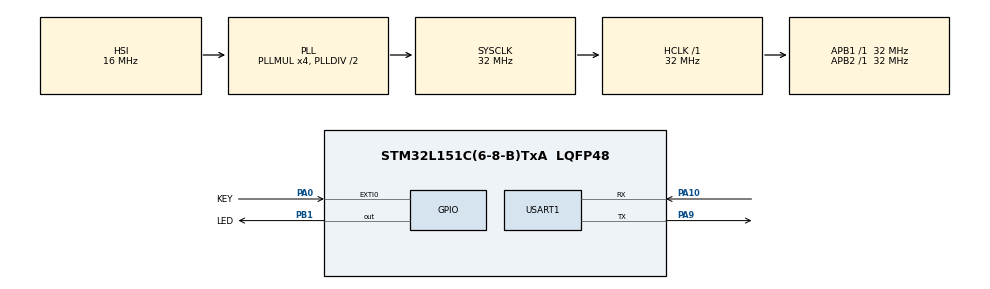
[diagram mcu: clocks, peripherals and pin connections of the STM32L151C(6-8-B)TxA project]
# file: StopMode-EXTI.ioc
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Mcu.Family=STM32L1
Mcu.Name=STM32L151C(6-8-B)TxA
Mcu.Package=LQFP48
NVIC.EXTI0_IRQn=true\:0\:0\:false
NVIC.PriorityGroup=NVIC_PRIORITYGROUP_4
PA0-WKUP1.GPIO_Label=KEY
PA0-WKUP1.GPIO_ModeDefaultEXTI=GPIO_MODE_IT_RISING
PA0-WKUP1.GPIO_PuPd=GPIO_PULLDOWN
PA0-WKUP1.Signal=GPXTI0
PA10.Mode=Asynchronous
PA10.Signal=USART1_RX
PA13.Mode=Serial-Wire
PA13.Signal=SYS_JTMS-SWDIO
PA14.Mode=Serial-Wire
PA14.Signal=SYS_JTCK-SWCLK
PA9.Mode=Asynchronous
PA9.Signal=USART1_TX
PB1.GPIO_Label=LED
PB1.GPIO_PuPd=GPIO_NOPULL
PB1.Signal=GPIO_Output
ProjectManager.HeapSize=0x400
ProjectManager.StackSize=0x200
ProjectManager.TargetToolchain=EWARM
RCC.AHBFreq_Value=32000000
RCC.APB1Freq_Value=32000000
RCC.APB1TimFreq_Value=32000000
RCC.APB2Freq_Value=32000000
RCC.APB2TimFreq_Value=32000000
RCC.HCLKFreq_Value=32000000
RCC.HSE_VALUE=8000000
RCC.HSI_VALUE=16000000
RCC.LSE_VALUE=32768
RCC.MSIClockRange=RCC_MSIRANGE_3
RCC.MSI_VALUE=524288
RCC.PLLMUL=RCC_PLL_MUL4
RCC.RTCClockSelection=RCC_RTCCLKSOURCE_LSI
RCC.RTCClockSelectionVirtual=RCC_RTCCLKSOURCE_LSI
RCC.SYSCLKFreq_VALUE=32000000
RCC.SYSCLKSource=RCC_SYSCLKSOURCE_PLLCLK
RCC.USBOutput=32000000
RCC.VCOOutputFreq_Value=64000000
board=StopMode-EXTI

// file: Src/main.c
/**
******************************************************************************
* File Name          : main.c
* Description        : Main program body
******************************************************************************
*
* COPYRIGHT(c) 2015 STMicroelectronics
*
* Redistribution and use in source and binary forms, with or without modification,
* are permitted provided that the following conditions are met:
*   1. Redistributions of source code must retain the above copyright notice,
*      this list of conditions and the following disclaimer.
*   2. Redistributions in binary form must reproduce the above copyright notice,
*      this list of conditions and the following disclaimer in the documentation
*      and/or other materials provided with the distribution.
*   3. Neither the name of STMicroelectronics nor the names of its contributors
*      may be used to endorse or promote products derived from this software
*      without specific prior written permission.
*
* THIS SOFTWARE IS PROVIDED BY THE COPYRIGHT HOLDERS AND CONTRIBUTORS "AS IS"
* AND ANY EXPRESS OR IMPLIED WARRANTIES, INCLUDING, BUT NOT LIMITED TO, THE
* IMPLIED WARRANTIES OF MERCHANTABILITY AND FITNESS FOR A PARTICULAR PURPOSE ARE
* DISCLAIMED. IN NO EVENT SHALL THE COPYRIGHT HOLDER OR CONTRIBUTORS BE LIABLE
* FOR ANY DIRECT, INDIRECT, INCIDENTAL, SPECIAL, EXEMPLARY, OR CONSEQUENTIAL
* DAMAGES (INCLUDING, BUT NOT LIMITED TO, PROCUREMENT OF SUBSTITUTE GOODS OR
* SERVICES; LOSS OF USE, DATA, OR PROFITS; OR BUSINESS INTERRUPTION) HOWEVER
* CAUSED AND ON ANY THEORY OF LIABILITY, WHETHER IN CONTRACT, STRICT LIABILITY,
* OR TORT (INCLUDING NEGLIGENCE OR OTHERWISE) ARISING IN ANY WAY OUT OF THE USE
* OF THIS SOFTWARE, EVEN IF ADVISED OF THE POSSIBILITY OF SUCH DAMAGE.
*
******************************************************************************
*/
#include "stm32l1xx_hal.h"
#include "usart.h"
#include "gpio.h"

/* USER CODE BEGIN PV */
/* Private variables ---------------------------------------------------------*/
void power_exit_stop(void);
void power_enter_stop(void);
/* USER CODE END PV */

void SystemClock_Config(void);

/* USER CODE BEGIN PFP */
/* Private function prototypes -----------------------------------------------*/

/* USER CODE END PFP */

/* USER CODE BEGIN 0 */
__IO uint8_t sec = 0;
/* USER CODE END 0 */

int main(void)
{

	/* MCU Configuration----------------------------------------------------------*/

	/* Reset of all peripherals, Initializes the Flash interface and the Systick. */
	HAL_Init();

	/* Configure the system clock */
	SystemClock_Config();

	/* Initialize all configured peripherals */
	MX_GPIO_Init();
	MX_USART1_UART_Init();

	/* USER CODE BEGIN 2 */

	// 禁用比较器
	__COMP_CLK_DISABLE();

	// 禁止 PVD
	HAL_PWR_DisablePVD();

	// 关闭VREFINT	少3uA
	HAL_PWREx_EnableUltraLowPower();
	// 忽略VREFINT 加快启动速度
	HAL_PWREx_EnableFastWakeUp();

	// 允许/禁用 调试端口 少800uA
	HAL_DBGMCU_DisableDBGStopMode();
	//HAL_DBGMCU_EnableDBGStopMode();

	//HAL_PWR_EnableWakeUpPin(PWR_WAKEUP_PIN1);
	/* USER CODE END 2 */

	/* Infinite loop */
	/* USER CODE BEGIN WHILE */
	while (1)
	{
		LED_ON;
		HAL_Delay(1000);
		printf("Run!\r\n");
		sec++;
		if(sec>5){
			sec=0;
			power_enter_stop();
		}
		/* USER CODE END WHILE */

	}

}

/** System Clock Configuration
*/
void SystemClock_Config(void)
{

	RCC_OscInitTypeDef RCC_OscInitStruct;
	RCC_ClkInitTypeDef RCC_ClkInitStruct;

	__PWR_CLK_ENABLE();

	__HAL_PWR_VOLTAGESCALING_CONFIG(PWR_REGULATOR_VOLTAGE_SCALE1);

	RCC_OscInitStruct.OscillatorType = RCC_OSCILLATORTYPE_HSI;
	RCC_OscInitStruct.HSIState = RCC_HSI_ON;
	RCC_OscInitStruct.HSICalibrationValue = 16;
	RCC_OscInitStruct.PLL.PLLState = RCC_PLL_ON;
	RCC_OscInitStruct.PLL.PLLSource = RCC_PLLSOURCE_HSI;
	RCC_OscInitStruct.PLL.PLLMUL = RCC_PLL_MUL4;
	RCC_OscInitStruct.PLL.PLLDIV = RCC_PLL_DIV2;
	HAL_RCC_OscConfig(&RCC_OscInitStruct);

	RCC_ClkInitStruct.ClockType = RCC_CLOCKTYPE_SYSCLK;
	RCC_ClkInitStruct.SYSCLKSource = RCC_SYSCLKSOURCE_PLLCLK;
	RCC_ClkInitStruct.AHBCLKDivider = RCC_SYSCLK_DIV1;
	RCC_ClkInitStruct.APB1CLKDivider = RCC_HCLK_DIV1;
	RCC_ClkInitStruct.APB2CLKDivider = RCC_HCLK_DIV1;
	HAL_RCC_ClockConfig(&RCC_ClkInitStruct, FLASH_LATENCY_1);

	HAL_SYSTICK_Config(HAL_RCC_GetHCLKFreq()/1000);

	HAL_SYSTICK_CLKSourceConfig(SYSTICK_CLKSOURCE_HCLK);

	/* SysTick_IRQn interrupt configuration */
	HAL_NVIC_SetPriority(SysTick_IRQn, 0, 0);
}

/* USER CODE BEGIN 4 */

/**	Enter Stop Mode
***************************************/
void power_enter_stop(void)
{
	GPIO_InitTypeDef GPIO_InitStruct={0};

	printf("=== Power Down ===\r\n");
	LED_OFF;
	HAL_UART_MspDeInit(&huart1);

	//UART1;	减少16uA
	GPIO_InitStruct.Pin = GPIO_PIN_9|GPIO_PIN_10;
	GPIO_InitStruct.Mode = GPIO_MODE_ANALOG;
	GPIO_InitStruct.Pull = GPIO_NOPULL;
	GPIO_InitStruct.Speed = GPIO_SPEED_VERY_LOW;
	HAL_GPIO_Init(GPIOA, &GPIO_InitStruct);

	__GPIOA_CLK_DISABLE();
	__GPIOB_CLK_DISABLE();
	__GPIOC_CLK_DISABLE();
	__GPIOH_CLK_DISABLE();
	/* Enter Stop Mode */

	//	__HAL_PWR_VOLTAGESCALING_CONFIG(PWR_REGULATOR_VOLTAGE_SCALE3);
	//	/* Poll VOSF bit of in PWR_CSR. Wait until it is reset to 0 */
	//	while (__HAL_PWR_GET_FLAG(PWR_FLAG_VOS) != RESET) {};
	// 进入停机模式
	// PWR_LOWPOWERREGULATOR_ON 稳压器工作在动态低功耗模式 减少2uA
	// PWR_STOPENTRY_WFI	中断唤醒
	HAL_PWR_EnterSTOPMode(PWR_LOWPOWERREGULATOR_ON, PWR_STOPENTRY_WFI);

}

/**	Exit STOP mode
***************************************/
void power_exit_stop(void)
{
	SystemClock_Config();
	__GPIOA_CLK_ENABLE();
	__GPIOB_CLK_ENABLE();

	//	__HAL_PWR_VOLTAGESCALING_CONFIG(PWR_REGULATOR_VOLTAGE_SCALE1);
	//	/* Poll VOSF bit of in PWR_CSR. Wait until it is reset to 0 */
	//	while (__HAL_PWR_GET_FLAG(PWR_FLAG_VOS) != RESET) {};

	// 清除唤醒标记 减少重复唤醒电流，减少3uA
	SET_BIT(PWR->CR, PWR_CR_CWUF);

	HAL_UART_MspInit(&huart1);
}

//===================================================  printf uart1
#ifdef __GNUC__
/* With GCC/RAISONANCE, small printf (option LD Linker->Libraries->Small printf
set to 'Yes') calls __io_putchar() */
#define PUTCHAR_PROTOTYPE int __io_putchar(int ch)
#else
#define PUTCHAR_PROTOTYPE int fputc(int ch, FILE *f)
#endif
PUTCHAR_PROTOTYPE
{
	while(__HAL_UART_GET_FLAG(&huart1, UART_FLAG_TC) == RESET);
#ifdef __STM32F0xx_HAL_H

	huart1.Instance->TDR = (uint8_t)ch;
#endif

#ifdef __STM32F1xx_HAL_H
	huart1.Instance->DR = (uint8_t)ch;
#endif

#ifdef __STM32L1xx_HAL_H
	huart1.Instance->DR = (uint8_t)ch;
#endif

	return ch;
}

/* USER CODE END 4 */

/************************ (C) COPYRIGHT STMicroelectronics *****END OF FILE****/
